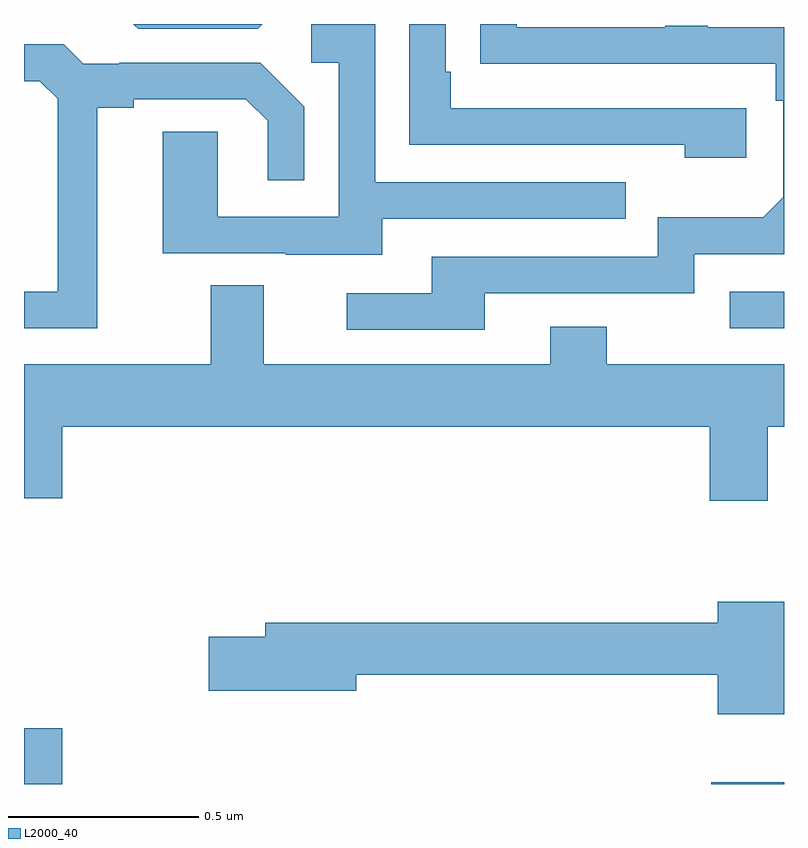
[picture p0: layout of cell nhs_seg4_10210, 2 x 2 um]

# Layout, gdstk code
import gdstk
lib = gdstk.Library(unit=1e-6, precision=1e-09)
def R(c, l, rs):  # rectangles x0, y0, x1, y1
    for r in rs: c.add(gdstk.rectangle(r[:2], r[2:], *l))
def P(c, l, *ps):  # polygons
    for p in ps: c.add(gdstk.Polygon(p, *l))
L2000_40 = (2000, 40)

nhs_seg4_10210 = lib.new_cell('nhs_seg4_10210')
R(nhs_seg4_10210, L2000_40, [(237,775.9,237.1,776.047), (238.809,775.9,239,775.905), (238.857,777.099,239,777.195)])
P(nhs_seg4_10210, L2000_40, [(238.213,777.192),(238.764,777.192),(238.764,777.294),(239,777.294),(239,777.891),(238.799,777.891),(238.799,777.896),(238.687,777.896),(238.687,777.891),(238.297,777.891),(238.297,777.9),(238.201,777.9),(238.201,777.796),(238.303,777.796),(238.303,777.795),(238.978,777.795),(238.978,777.698),(238.998,777.698),(238.998,777.444),(238.945,777.391),(238.668,777.391),(238.668,777.288),(238.073,777.288),(238.073,777.192),(237.849,777.192),(237.849,777.096),(238.213,777.096)],
  [(237.627,777.9),(237.288,777.9),(237.3,777.888),(237.615,777.888)],
  [(238.9,777.678),(238.123,777.678),(238.123,777.775),(238.11,777.775),(238.11,777.9),(238.014,777.9),(238.014,777.582),(238.739,777.582),(238.739,777.548),(238.9,777.548)],
  [(237.943,777.387),(238.583,777.387),(238.583,777.483),(237.924,777.483),(237.924,777.899),(237.756,777.899),(237.756,777.798),(237.828,777.798),(237.828,777.393),(237.51,777.393),(237.51,777.617),(237.365,777.617),(237.365,777.297),(237.689,777.297),(237.689,777.293),(237.943,777.293)],
  [(237.193,777.68),(237.289,777.68),(237.289,777.702),(237.584,777.702),(237.641,777.645),(237.641,777.489),(237.738,777.489),(237.738,777.682),(237.622,777.798),(237.25,777.798),(237.25,777.795),(237.156,777.795),(237.104,777.847),(237,777.847),(237,777.75),(237.042,777.75),(237.089,777.703),(237.089,777.195),(237,777.195),(237,777.099),(237.193,777.099)],
  [(237,776.652),(237.1,776.652),(237.1,776.84),(238.805,776.84),(238.805,776.646),(238.957,776.646),(238.957,776.84),(239,776.84),(239,777.004),(238.533,777.004),(238.533,777.103),(238.385,777.103),(238.385,777.004),(237.631,777.004),(237.631,777.212),(237.491,777.212),(237.491,777.004),(237,777.004)],
  [(239,776.38),(238.826,776.38),(238.826,776.324),(237.635,776.324),(237.635,776.288),(237.486,776.288),(237.486,776.146),(237.874,776.146),(237.874,776.188),(238.826,776.188),(238.826,776.084),(239,776.084)])

lib.write_gds('nhs_seg4_10210.gds')
